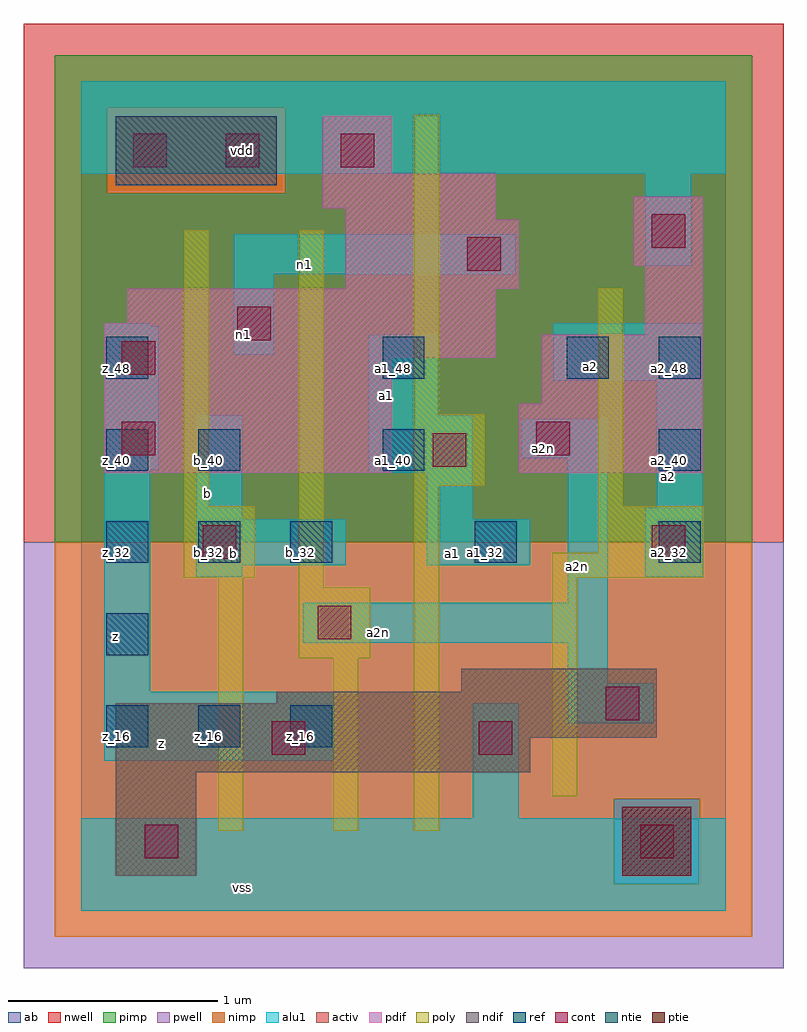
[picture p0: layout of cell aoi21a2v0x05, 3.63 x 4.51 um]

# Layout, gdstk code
import gdstk
lib = gdstk.Library(unit=1e-6, precision=2.5e-09)
def R(c, l, rs):  # rectangles x0, y0, x1, y1
    for r in rs: c.add(gdstk.rectangle(r[:2], r[2:], *l))
def A(c, l, x, y, w, h, nx, ny, dx, dy):  # array of equal rectangles
    R(c, l, [(x+i*dx, y+j*dy, x+i*dx+w, y+j*dy+h) for i in range(nx) for j in range(ny)])
ndif = (3, 0)
pdif = (4, 0)
ntie = (5, 0)
ptie = (6, 0)
ref = (24, 0)
cont = (25, 0)
pwell = (41, 0)
nwell = (42, 0)
activ = (43, 0)
pimp = (44, 0)
nimp = (45, 0)
poly = (46, 0)
alu1 = (49, 0)
ab = (63, 0)

aoi21a2v0x05 = lib.new_cell('aoi21a2v0x05')
R(aoi21a2v0x05, ndif, [(0.165,0.165,0.55,0.66), (0.165,0.66,2.145,0.825), (0.165,0.825,2.75,0.99), (0.935,0.99,2.75,1.045), (1.815,1.045,2.75,1.155)])
R(aoi21a2v0x05, pdif, [(0.11,2.09,1.485,2.64), (2.09,2.09,2.97,2.42), (2.2,2.42,2.97,2.75), (0.11,2.64,1.98,2.805), (2.695,2.75,2.97,3.08), (0.22,2.805,1.98,2.97), (1.265,2.97,2.09,3.3), (2.64,3.08,2.97,3.41), (1.265,3.3,1.98,3.355), (1.155,3.355,1.98,3.52), (1.155,3.52,1.485,3.795)])
R(aoi21a2v0x05, ntie, [(0.165,3.465,0.935,3.795)])
R(aoi21a2v0x05, ptie, [(2.585,0.165,2.915,0.495)])
A(aoi21a2v0x05, ref, 0.12, 0.78, 0.2, 0.2, 3, 2, 0.44, 0.88)
A(aoi21a2v0x05, ref, 2.76, 1.66, 0.2, 0.2, 1, 3, 0, 0.44)
R(aoi21a2v0x05, ref, [(0.12,1.22,0.32,1.42), (1.88,1.66,2.08,1.86), (0.12,2.1,0.32,2.3), (0.56,2.1,0.76,2.3), (1.44,2.1,1.64,2.3), (0.12,2.54,0.32,2.74), (1.44,2.54,1.64,2.74), (2.32,2.54,2.52,2.74)])
R(aoi21a2v0x05, cont, [(0.305,0.25,0.465,0.41), (2.67,0.25,2.83,0.41), (0.91,0.745,1.07,0.905), (1.9,0.745,2.06,0.905), (2.505,0.91,2.665,1.07), (1.13,1.295,1.29,1.455), (0.58,1.68,0.74,1.84), (2.725,1.68,2.885,1.84), (1.68,2.12,1.84,2.28), (0.195,2.175,0.355,2.335), (2.175,2.175,2.335,2.335), (0.195,2.56,0.355,2.72), (0.745,2.725,0.905,2.885), (1.845,3.055,2.005,3.215), (2.725,3.165,2.885,3.325), (0.25,3.55,0.41,3.71), (0.69,3.55,0.85,3.71), (1.24,3.55,1.4,3.71)])
R(aoi21a2v0x05, pwell, [(-0.275,-0.275,3.355,1.76)])
R(aoi21a2v0x05, nwell, [(-0.275,1.76,3.355,4.235)])
R(aoi21a2v0x05, activ, [(0.165,0.165,0.55,0.66), (2.585,0.165,2.915,0.495), (0.165,0.66,2.145,0.825), (0.165,0.825,2.75,0.99), (0.935,0.99,2.75,1.045), (1.815,1.045,2.75,1.155), (0.11,2.09,1.485,2.64), (2.09,2.09,2.97,2.42), (2.2,2.42,2.97,2.75), (0.11,2.64,1.98,2.805), (2.695,2.75,2.97,3.08), (0.22,2.805,1.98,2.97), (1.265,2.97,2.09,3.3), (2.64,3.08,2.97,3.41), (1.265,3.3,1.98,3.355), (1.155,3.355,1.98,3.52), (0.165,3.465,0.935,3.795), (1.155,3.52,1.485,3.795)])
R(aoi21a2v0x05, pimp, [(2.545,0.125,2.955,0.535), (-0.125,1.76,3.205,3.425), (-0.125,3.425,0.125,3.835), (0.975,3.425,3.205,3.835), (-0.125,3.835,3.205,4.085)])
R(aoi21a2v0x05, nimp, [(-0.125,-0.125,3.205,0.125), (-0.125,0.125,2.545,0.535), (2.955,0.125,3.205,0.535), (-0.125,0.535,3.205,1.76), (0.125,3.425,0.975,3.835)])
R(aoi21a2v0x05, poly, [(0.655,0.38,0.775,1.59), (1.205,0.38,1.325,1.205), (1.59,0.38,1.71,2.03), (2.25,0.545,2.37,1.59), (1.04,1.205,1.38,1.545), (1.04,1.545,1.16,3.25), (0.49,1.59,0.83,1.93), (2.25,1.59,2.975,1.71), (2.47,1.71,2.975,1.93), (0.49,1.93,0.61,3.25), (2.47,1.93,2.59,2.975), (1.59,2.03,1.93,2.37), (1.59,2.37,1.71,3.8)])
R(aoi21a2v0x05, alu1, [(0,0,3.08,0.44), (1.87,0.44,2.09,0.99), (0.11,0.715,1.21,1.045), (2.325,0.895,2.735,1.085), (0.11,1.045,0.33,2.105), (2.325,1.085,2.515,1.28), (1.06,1.28,2.515,1.47), (2.325,1.47,2.515,2.16), (0.55,1.595,0.77,1.65), (2.695,1.595,2.97,1.925), (0.55,1.65,1.265,1.87), (1.65,1.65,2.145,1.87), (0.55,1.87,0.77,2.365), (1.65,1.87,1.87,2.09), (2.75,1.925,2.97,2.53), (1.375,2.09,1.87,2.365), (0.11,2.105,0.37,2.79), (2.105,2.16,2.515,2.35), (1.375,2.365,1.705,2.75), (2.255,2.53,2.97,2.805), (0.73,2.655,0.92,3.04), (0.11,2.79,0.33,2.805), (0.73,3.04,2.075,3.23), (2.695,3.08,2.915,3.52), (0,3.52,3.08,3.96)])
R(aoi21a2v0x05, ab, [(0,0,3.08,3.96)])
aoi21a2v0x05.add(gdstk.Label('vss', (0.77,0.11), layer=49, texttype=0))
aoi21a2v0x05.add(gdstk.Label('z', (0.385,0.7975), layer=49, texttype=0))
aoi21a2v0x05.add(gdstk.Label('a2n', (1.4225,1.3275), layer=49, texttype=0))
aoi21a2v0x05.add(gdstk.Label('a2', (2.805,2.075), layer=49, texttype=0))
aoi21a2v0x05.add(gdstk.Label('a2n', (2.3725,1.6425), layer=49, texttype=0))
aoi21a2v0x05.add(gdstk.Label('a1', (1.7725,1.705), layer=49, texttype=0))
aoi21a2v0x05.add(gdstk.Label('b', (0.7275,1.705), layer=49, texttype=0))
aoi21a2v0x05.add(gdstk.Label('a2n', (2.2075,2.2075), layer=49, texttype=0))
aoi21a2v0x05.add(gdstk.Label('b', (0.605,1.9925), layer=49, texttype=0))
aoi21a2v0x05.add(gdstk.Label('z', (0.165,1.31), layer=49, texttype=0))
aoi21a2v0x05.add(gdstk.Label('a2', (2.4325,2.5975), layer=49, texttype=0))
aoi21a2v0x05.add(gdstk.Label('a1', (1.4575,2.46), layer=49, texttype=0))
aoi21a2v0x05.add(gdstk.Label('n1', (0.7775,2.75), layer=49, texttype=0))
aoi21a2v0x05.add(gdstk.Label('n1', (1.065,3.0875), layer=49, texttype=0))
aoi21a2v0x05.add(gdstk.Label('vdd', (0.77,3.63), layer=49, texttype=0))
aoi21a2v0x05.add(gdstk.Label('a1_32', (1.93,1.71), layer=24, texttype=0))
aoi21a2v0x05.add(gdstk.Label('a2_32', (2.81,1.71), layer=24, texttype=0))
aoi21a2v0x05.add(gdstk.Label('a2_40', (2.81,2.15), layer=24, texttype=0))
aoi21a2v0x05.add(gdstk.Label('a2_48', (2.81,2.59), layer=24, texttype=0))
aoi21a2v0x05.add(gdstk.Label('a2_48', (2.37,2.59), layer=24, texttype=0))
aoi21a2v0x05.add(gdstk.Label('a1_40', (1.49,2.15), layer=24, texttype=0))
aoi21a2v0x05.add(gdstk.Label('b_32', (0.61,1.71), layer=24, texttype=0))
aoi21a2v0x05.add(gdstk.Label('b_32', (1.05,1.71), layer=24, texttype=0))
aoi21a2v0x05.add(gdstk.Label('b_40', (0.61,2.15), layer=24, texttype=0))
aoi21a2v0x05.add(gdstk.Label('z_48', (0.17,2.59), layer=24, texttype=0))
aoi21a2v0x05.add(gdstk.Label('z_40', (0.17,2.15), layer=24, texttype=0))
aoi21a2v0x05.add(gdstk.Label('z_32', (0.17,1.71), layer=24, texttype=0))
aoi21a2v0x05.add(gdstk.Label('z_24', (0.17,1.27), layer=24, texttype=0))
aoi21a2v0x05.add(gdstk.Label('z_16', (0.17,0.83), layer=24, texttype=0))
aoi21a2v0x05.add(gdstk.Label('a1_48', (1.49,2.59), layer=24, texttype=0))
aoi21a2v0x05.add(gdstk.Label('z_16', (1.05,0.83), layer=24, texttype=0))
aoi21a2v0x05.add(gdstk.Label('z_16', (0.61,0.83), layer=24, texttype=0))

lib.write_gds('aoi21a2v0x05.gds')
